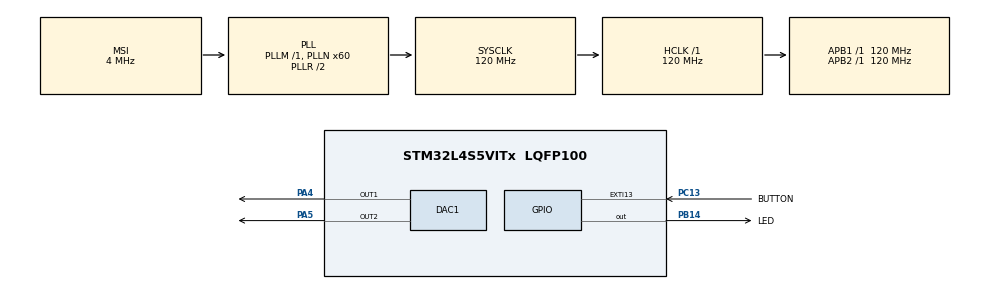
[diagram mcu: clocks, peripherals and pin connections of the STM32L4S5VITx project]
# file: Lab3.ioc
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ADC1.Channel-0\#ChannelRegularConversion=ADC_CHANNEL_TEMPSENSOR
ADC1.NbrOfConversionFlag=1
ADC1.OffsetNumber-0\#ChannelRegularConversion=ADC_OFFSET_NONE
ADC1.Rank-0\#ChannelRegularConversion=1
ADC1.SamplingTime-0\#ChannelRegularConversion=ADC_SAMPLETIME_640CYCLES_5
ADC1.master=1
DAC1.DAC_Channel-DAC_OUT2=DAC_CHANNEL_2
DAC1.DAC_Trigger-DAC_OUT1=DAC_TRIGGER_NONE
Dma.DAC1_CH1.0.Direction=DMA_MEMORY_TO_PERIPH
Dma.DAC1_CH1.0.EventEnable=DISABLE
Dma.DAC1_CH1.0.Instance=DMA1_Channel2
Dma.DAC1_CH1.0.MemDataAlignment=DMA_MDATAALIGN_HALFWORD
Dma.DAC1_CH1.0.MemInc=DMA_MINC_ENABLE
Dma.DAC1_CH1.0.Mode=DMA_CIRCULAR
Dma.DAC1_CH1.0.PeriphDataAlignment=DMA_PDATAALIGN_HALFWORD
Dma.DAC1_CH1.0.PeriphInc=DMA_PINC_DISABLE
Dma.DAC1_CH1.0.Polarity=HAL_DMAMUX_REQUEST_GEN_RISING
Dma.DAC1_CH1.0.Priority=DMA_PRIORITY_LOW
Dma.DAC1_CH1.0.RequestNumber=1
Dma.DAC1_CH1.0.SignalID=NONE
Dma.DAC1_CH1.0.SyncEnable=DISABLE
Dma.DAC1_CH1.0.SyncPolarity=HAL_DMAMUX_SYNC_NO_EVENT
Dma.DAC1_CH1.0.SyncRequestNumber=1
Dma.DAC1_CH1.0.SyncSignalID=NONE
Dma.Request0=DAC1_CH1
Mcu.Family=STM32L4
Mcu.Name=STM32L4S5VITx
Mcu.Package=LQFP100
NVIC.DMA1_Channel2_IRQn=true\:0\:0\:false\:false\:true\:false\:true\:true
NVIC.EXTI15_10_IRQn=true\:0\:0\:false\:false\:true\:true\:true\:true
NVIC.PriorityGroup=NVIC_PRIORITYGROUP_4
NVIC.TIM2_IRQn=true\:0\:0\:false\:false\:true\:true\:true\:true
PA13\ (JTMS/SWDIO).Signal=SYS_JTMS-SWDIO
PA4.Signal=COMP_DAC11_group
PA5.Signal=COMP_DAC12_group
PB14.GPIO_Label=LED
PB14.Signal=GPIO_Output
PB3\ (JTDO/TRACESWO).Signal=SYS_JTDO-SWO
PC13.GPIO_Label=BUTTON
PC13.Signal=GPXTI13
ProjectManager.HeapSize=0x200
ProjectManager.StackSize=0x400
ProjectManager.TargetToolchain=STM32CubeIDE
RCC.ADCFreq_Value=32000000
RCC.AHBFreq_Value=120000000
RCC.APB1Freq_Value=120000000
RCC.APB1TimFreq_Value=120000000
RCC.APB2Freq_Value=120000000
RCC.APB2TimFreq_Value=120000000
RCC.CortexFreq_Value=120000000
RCC.HCLKFreq_Value=120000000
RCC.HSE_VALUE=8000000
RCC.HSI48_VALUE=48000000
RCC.HSI_VALUE=16000000
RCC.LSE_VALUE=32768
RCC.MSI_VALUE=4000000
RCC.PLLN=60
RCC.PLLSAI1N=16
RCC.SYSCLKFreq_VALUE=120000000
RCC.SYSCLKSource=RCC_SYSCLKSOURCE_PLLCLK
RCC.USBFreq_Value=32000000
RCC.VCOOutputFreq_Value=240000000
SH.COMP_DAC11_group.0=DAC1_OUT1,DAC_OUT1
SH.COMP_DAC12_group.0=DAC1_OUT2,DAC_OUT2
TIM2.Period=23
TIM2.Prescaler=120
TIM2.TIM_MasterOutputTrigger=TIM_TRGO_UPDATE
VP_ADC1_TempSens_Input.Mode=IN-TempSens
VP_ADC1_Vref_Input.Mode=IN-Vrefint
VP_TIM2_VS_ClockSourceINT.Mode=Internal
board=B-L4S5I-IOT01A

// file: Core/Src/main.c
/* USER CODE BEGIN Header */
/**
  ******************************************************************************
  * @file           : main.c
  * @brief          : Main program body
  ******************************************************************************
  * @attention
  *
  * Copyright (c) 2024 STMicroelectronics.
  * All rights reserved.
  *
  * This software is licensed under terms that can be found in the LICENSE file
  * in the root directory of this software component.
  * If no LICENSE file comes with this software, it is provided AS-IS.
  *
  ******************************************************************************
  */
/* USER CODE END Header */
#include "main.h"

/* USER CODE BEGIN Includes */
#include "arm_math.h"
#define  ARM_MATH_CM
/* USER CODE END Includes */

/* USER CODE BEGIN PD */
#define PERIOD 15
/* USER CODE END PD */

ADC_HandleTypeDef hadc1;

DAC_HandleTypeDef hdac1;
DMA_HandleTypeDef hdma_dac1_ch1;

TIM_HandleTypeDef htim2;

/* USER CODE BEGIN PV */

HAL_StatusTypeDef STATUS;

uint16_t sawtoothWave;
uint16_t triangleWave;
uint16_t sineWave;
uint16_t sawtooth[PERIOD];
uint16_t triangle[PERIOD];
uint16_t sine[PERIOD];

/* USER CODE END PV */

void SystemClock_Config(void);
static void MX_GPIO_Init(void);
static void MX_DMA_Init(void);
static void MX_ADC1_Init(void);
static void MX_DAC1_Init(void);
static void MX_TIM2_Init(void);

int main(void)
{

  /* MCU Configuration--------------------------------------------------------*/

  /* Reset of all peripherals, Initializes the Flash interface and the Systick. */
  HAL_Init();

  /* Configure the system clock */
  SystemClock_Config();

  /* Initialize all configured peripherals */
  MX_GPIO_Init();
  MX_DMA_Init();
  MX_ADC1_Init();
  MX_DAC1_Init();
  MX_TIM2_Init();
  /* USER CODE BEGIN 2 */

  sawtoothGraph();
  triangleGraph();
  sineGraph();

  if(HAL_DAC_Start(&hdac1, DAC_CHANNEL_1) != HAL_OK ||
		  HAL_DAC_Start(&hdac1, DAC_CHANNEL_2)){
	  Error_Handler();
  }

  /* USER CODE END 2 */

  /* Infinite loop */
  while (1)
  {

    /* USER CODE BEGIN 3 */

	  for(uint32_t i=0; i<PERIOD; i++){
		  sawtoothWave = sawtooth[i];
		  triangleWave = triangle[i];
		  sineWave = sine[i];
		  if(HAL_DAC_SetValue(&hdac1, DAC_CHANNEL_1, DAC_ALIGN_12B_R, sineWave) != HAL_OK ||
				  HAL_DAC_SetValue(&hdac1, DAC_CHANNEL_2, DAC_ALIGN_12B_R, triangleWave) != HAL_OK){
			  Error_Handler();
		  }
		  HAL_Delay(PERIOD/15); //to hear the sound on the speaker
		  //HAL_Delay(500); //to visualize the graph
	  }

  }
  /* USER CODE END 3 */
}

void SystemClock_Config(void)
{
  RCC_OscInitTypeDef RCC_OscInitStruct = {0};
  RCC_ClkInitTypeDef RCC_ClkInitStruct = {0};

  /** Configure the main internal regulator output voltage
  */
  if (HAL_PWREx_ControlVoltageScaling(PWR_REGULATOR_VOLTAGE_SCALE1_BOOST) != HAL_OK)
  {
    Error_Handler();
  }

  /** Initializes the RCC Oscillators according to the specified parameters
  * in the RCC_OscInitTypeDef structure.
  */
  RCC_OscInitStruct.OscillatorType = RCC_OSCILLATORTYPE_MSI;
  RCC_OscInitStruct.MSIState = RCC_MSI_ON;
  RCC_OscInitStruct.MSICalibrationValue = 0;
  RCC_OscInitStruct.MSIClockRange = RCC_MSIRANGE_6;
  RCC_OscInitStruct.PLL.PLLState = RCC_PLL_ON;
  RCC_OscInitStruct.PLL.PLLSource = RCC_PLLSOURCE_MSI;
  RCC_OscInitStruct.PLL.PLLM = 1;
  RCC_OscInitStruct.PLL.PLLN = 60;
  RCC_OscInitStruct.PLL.PLLP = RCC_PLLP_DIV2;
  RCC_OscInitStruct.PLL.PLLQ = RCC_PLLQ_DIV2;
  RCC_OscInitStruct.PLL.PLLR = RCC_PLLR_DIV2;
  if (HAL_RCC_OscConfig(&RCC_OscInitStruct) != HAL_OK)
  {
    Error_Handler();
  }

  /** Initializes the CPU, AHB and APB buses clocks
  */
  RCC_ClkInitStruct.ClockType = RCC_CLOCKTYPE_HCLK|RCC_CLOCKTYPE_SYSCLK
                              |RCC_CLOCKTYPE_PCLK1|RCC_CLOCKTYPE_PCLK2;
  RCC_ClkInitStruct.SYSCLKSource = RCC_SYSCLKSOURCE_PLLCLK;
  RCC_ClkInitStruct.AHBCLKDivider = RCC_SYSCLK_DIV1;
  RCC_ClkInitStruct.APB1CLKDivider = RCC_HCLK_DIV1;
  RCC_ClkInitStruct.APB2CLKDivider = RCC_HCLK_DIV1;

  if (HAL_RCC_ClockConfig(&RCC_ClkInitStruct, FLASH_LATENCY_5) != HAL_OK)
  {
    Error_Handler();
  }
}

static void MX_ADC1_Init(void)
{

  ADC_ChannelConfTypeDef sConfig = {0};

  /** Common config
  */
  hadc1.Instance = ADC1;
  hadc1.Init.ClockPrescaler = ADC_CLOCK_ASYNC_DIV1;
  hadc1.Init.Resolution = ADC_RESOLUTION_12B;
  hadc1.Init.DataAlign = ADC_DATAALIGN_RIGHT;
  hadc1.Init.ScanConvMode = ADC_SCAN_DISABLE;
  hadc1.Init.EOCSelection = ADC_EOC_SINGLE_CONV;
  hadc1.Init.LowPowerAutoWait = DISABLE;
  hadc1.Init.ContinuousConvMode = DISABLE;
  hadc1.Init.NbrOfConversion = 1;
  hadc1.Init.DiscontinuousConvMode = DISABLE;
  hadc1.Init.ExternalTrigConv = ADC_SOFTWARE_START;
  hadc1.Init.ExternalTrigConvEdge = ADC_EXTERNALTRIGCONVEDGE_NONE;
  hadc1.Init.DMAContinuousRequests = DISABLE;
  hadc1.Init.Overrun = ADC_OVR_DATA_PRESERVED;
  hadc1.Init.OversamplingMode = DISABLE;
  if (HAL_ADC_Init(&hadc1) != HAL_OK)
  {
    Error_Handler();
  }

  /** Configure Regular Channel
  */
  sConfig.Channel = ADC_CHANNEL_TEMPSENSOR;
  sConfig.Rank = ADC_REGULAR_RANK_1;
  sConfig.SamplingTime = ADC_SAMPLETIME_640CYCLES_5;
  sConfig.SingleDiff = ADC_SINGLE_ENDED;
  sConfig.OffsetNumber = ADC_OFFSET_NONE;
  sConfig.Offset = 0;
  if (HAL_ADC_ConfigChannel(&hadc1, &sConfig) != HAL_OK)
  {
    Error_Handler();
  }

}

static void MX_DAC1_Init(void)
{

  DAC_ChannelConfTypeDef sConfig = {0};

  /** DAC Initialization
  */
  hdac1.Instance = DAC1;
  if (HAL_DAC_Init(&hdac1) != HAL_OK)
  {
    Error_Handler();
  }

  /** DAC channel OUT1 config
  */
  sConfig.DAC_SampleAndHold = DAC_SAMPLEANDHOLD_DISABLE;
  sConfig.DAC_Trigger = DAC_TRIGGER_NONE;
  sConfig.DAC_HighFrequency = DAC_HIGH_FREQUENCY_INTERFACE_MODE_ABOVE_80MHZ;
  sConfig.DAC_OutputBuffer = DAC_OUTPUTBUFFER_ENABLE;
  sConfig.DAC_ConnectOnChipPeripheral = DAC_CHIPCONNECT_DISABLE;
  sConfig.DAC_UserTrimming = DAC_TRIMMING_FACTORY;
  if (HAL_DAC_ConfigChannel(&hdac1, &sConfig, DAC_CHANNEL_1) != HAL_OK)
  {
    Error_Handler();
  }

  /** DAC channel OUT2 config
  */
  if (HAL_DAC_ConfigChannel(&hdac1, &sConfig, DAC_CHANNEL_2) != HAL_OK)
  {
    Error_Handler();
  }

}

static void MX_TIM2_Init(void)
{

  TIM_ClockConfigTypeDef sClockSourceConfig = {0};
  TIM_MasterConfigTypeDef sMasterConfig = {0};

  htim2.Instance = TIM2;
  htim2.Init.Prescaler = 120;
  htim2.Init.CounterMode = TIM_COUNTERMODE_UP;
  htim2.Init.Period = 23;
  htim2.Init.ClockDivision = TIM_CLOCKDIVISION_DIV1;
  htim2.Init.AutoReloadPreload = TIM_AUTORELOAD_PRELOAD_DISABLE;
  if (HAL_TIM_Base_Init(&htim2) != HAL_OK)
  {
    Error_Handler();
  }
  sClockSourceConfig.ClockSource = TIM_CLOCKSOURCE_INTERNAL;
  if (HAL_TIM_ConfigClockSource(&htim2, &sClockSourceConfig) != HAL_OK)
  {
    Error_Handler();
  }
  sMasterConfig.MasterOutputTrigger = TIM_TRGO_UPDATE;
  sMasterConfig.MasterSlaveMode = TIM_MASTERSLAVEMODE_DISABLE;
  if (HAL_TIMEx_MasterConfigSynchronization(&htim2, &sMasterConfig) != HAL_OK)
  {
    Error_Handler();
  }

}

static void MX_DMA_Init(void)
{

  /* DMA controller clock enable */
  __HAL_RCC_DMAMUX1_CLK_ENABLE();
  __HAL_RCC_DMA1_CLK_ENABLE();

  /* DMA interrupt init */
  /* DMA1_Channel2_IRQn interrupt configuration */
  HAL_NVIC_SetPriority(DMA1_Channel2_IRQn, 0, 0);
  HAL_NVIC_EnableIRQ(DMA1_Channel2_IRQn);

}

static void MX_GPIO_Init(void)
{
  GPIO_InitTypeDef GPIO_InitStruct = {0};

  /* GPIO Ports Clock Enable */
  __HAL_RCC_GPIOC_CLK_ENABLE();
  __HAL_RCC_GPIOA_CLK_ENABLE();
  __HAL_RCC_GPIOB_CLK_ENABLE();

  /*Configure GPIO pin Output Level */
  HAL_GPIO_WritePin(LED_GPIO_Port, LED_Pin, GPIO_PIN_RESET);

  /*Configure GPIO pin : BUTTON_Pin */
  GPIO_InitStruct.Pin = BUTTON_Pin;
  GPIO_InitStruct.Mode = GPIO_MODE_IT_RISING;
  GPIO_InitStruct.Pull = GPIO_NOPULL;
  HAL_GPIO_Init(BUTTON_GPIO_Port, &GPIO_InitStruct);

  /*Configure GPIO pin : LED_Pin */
  GPIO_InitStruct.Pin = LED_Pin;
  GPIO_InitStruct.Mode = GPIO_MODE_OUTPUT_PP;
  GPIO_InitStruct.Pull = GPIO_NOPULL;
  GPIO_InitStruct.Speed = GPIO_SPEED_FREQ_LOW;
  HAL_GPIO_Init(LED_GPIO_Port, &GPIO_InitStruct);

  /* EXTI interrupt init*/
  HAL_NVIC_SetPriority(EXTI15_10_IRQn, 0, 0);
  HAL_NVIC_EnableIRQ(EXTI15_10_IRQn);

}

/* USER CODE BEGIN 4 */

void sawtoothGraph(void) {
	int step = 270;
	for(int i=0; i<PERIOD; i++) {
		sawtooth[i] = i*step;
	}
}

void triangleGraph(void) {
	int step = 270*2;
	for(int i=0; i<PERIOD; i++) {
		if(i <= 7) {
			triangle[i] = i*step;
		}
		else {
			triangle[i] = 3780-((i-7)*step);
		}
	}

}

void sineGraph(void) {
	for(int i = 0; i<PERIOD; i++){
		sine[i] = (uint16_t)((arm_sin_f32((2*M_PI*i)/15)+1)*1890);
	}
}

/* USER CODE END 4 */

void Error_Handler(void)
{
  __disable_irq();
  while (1)
  {
  }
}
